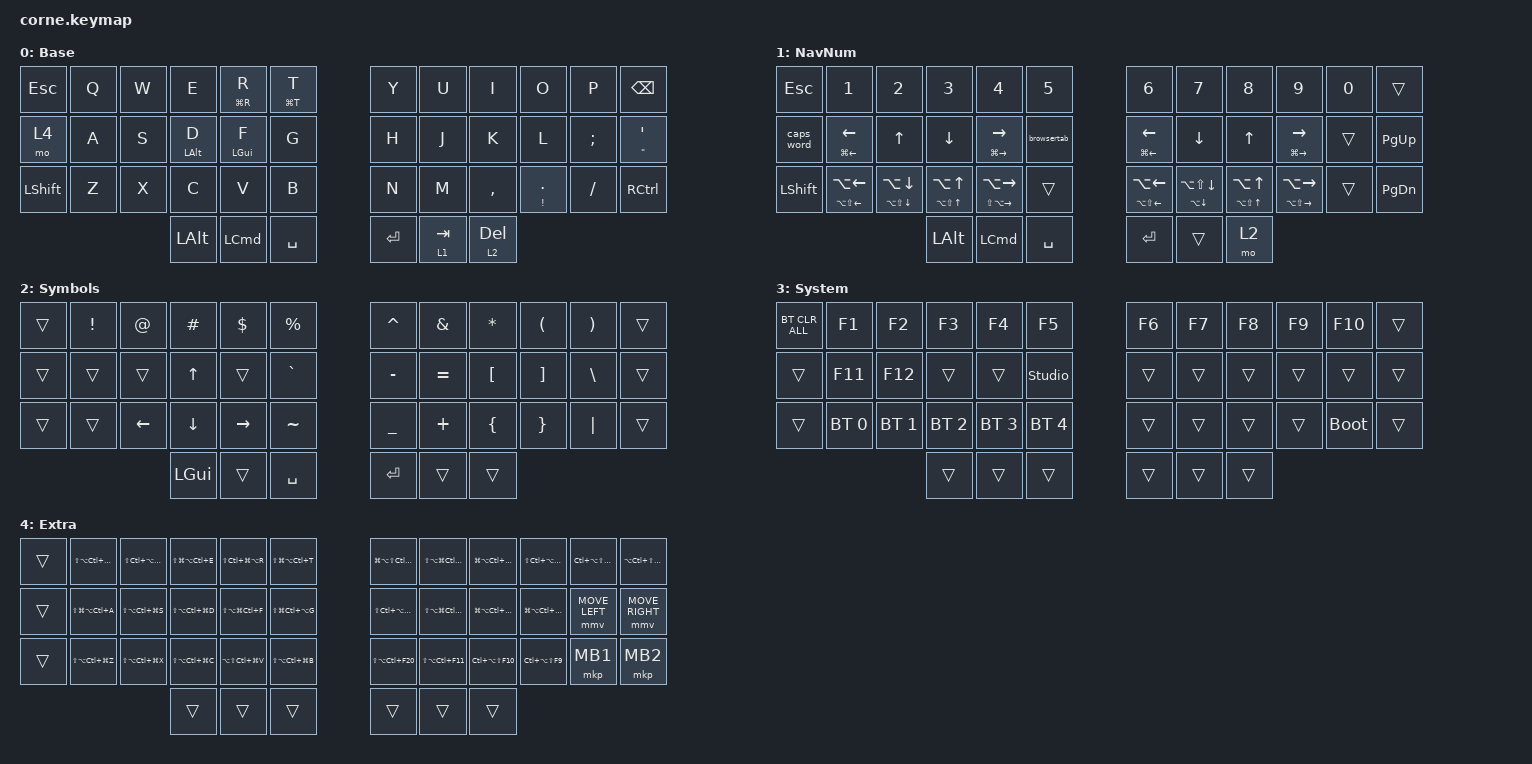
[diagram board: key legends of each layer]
#include <behaviors.dtsi>
#include <dt-bindings/zmk/bt.h>
#include <dt-bindings/zmk/keys.h>
#include <dt-bindings/zmk/outputs.h>
#include <dt-bindings/zmk/pointing.h>

#define DEF 0
#define NAV 1
#define SYM 2
#define ADJ 3
#define EXTRA 4

/ {
    behaviors {
        hm: homerow_mods {
            compatible = "zmk,behavior-hold-tap";
            #binding-cells = <2>;
            tapping-term-ms = <200>;
            flavor = "tap-preferred";
            bindings = <&kp>, <&kp>;

            quick-tap-ms = <180>;
            require-prior-idle-ms = <120>;
        };

        para: para {
            compatible = "zmk,behavior-tap-dance";
            #binding-cells = <0>;
            bindings = <&kp LEFT_PARENTHESIS>, <&kp RIGHT_PARENTHESIS>;
        };

        caps: caps {
            compatible = "zmk,behavior-caps-word";
            #binding-cells = <0>;
            continue-list = <MINUS BACKSPACE>;
        };

        paraless: paraless {
            compatible = "zmk,behavior-mod-morph";
            bindings = <&kp LEFT_PARENTHESIS>, <&kp LESS_THAN>;

            #binding-cells = <0>;
            mods = <(MOD_LSFT)>;
        };

        paragreat: paragreat {
            compatible = "zmk,behavior-mod-morph";
            bindings = <&kp RIGHT_PARENTHESIS>, <&kp GREATER_THAN>;

            #binding-cells = <0>;
            mods = <(MOD_LSFT)>;
        };

        HMShiftR: HMShiftR {
            compatible = "zmk,behavior-hold-tap";
            bindings = <&kp>, <&kp>;

            #binding-cells = <2>;
            tapping-term-ms = <200>;
            hold-while-undecided;
            hold-trigger-key-positions = <0 1 2 4 5 12 13 14 15 16 17 24 25 26 27 28 29 36 37 38 3>;
            hold-trigger-on-release;
        };

        HMShiftL: HMShiftL {
            compatible = "zmk,behavior-hold-tap";
            bindings = <&kp>, <&kp>;

            #binding-cells = <2>;
            tapping-term-ms = <200>;
            hold-while-undecided;
            hold-while-undecided-linger;
            hold-trigger-on-release;
            hold-trigger-key-positions = <6 7 8 9 10 11 18 19 20 21 22 23 30 31 32 33 34 35 39 40 41>;
        };

        HMR: HMR {
            compatible = "zmk,behavior-hold-tap";
            bindings = <&kp>, <&kp>;

            #binding-cells = <2>;
            tapping-term-ms = <200>;
            hold-while-undecided;
            hold-trigger-key-positions = <0 1 2 4 5 12 13 14 15 16 17 24 25 26 27 28 29 36 37 38 3>;
            hold-trigger-on-release;
            flavor = "tap-preferred";
        };

        HML: HML {
            compatible = "zmk,behavior-hold-tap";
            bindings = <&kp>, <&kp>;

            #binding-cells = <2>;
            tapping-term-ms = <200>;
            hold-while-undecided;
            hold-trigger-on-release;
            hold-trigger-key-positions = <6 7 8 9 10 11 18 19 20 21 22 23 30 31 32 33 34 35 39 40 41>;
            flavor = "tap-preferred";
        };

        longpress: longpress {
            compatible = "zmk,behavior-hold-tap";
            bindings = <&kp>, <&kp>;

            #binding-cells = <2>;
            flavor = "tap-preferred";
            tapping-term-ms = <350>;
        };
    };

    macros {
        browsertab: browsertab {
            compatible = "zmk,behavior-macro";
            #binding-cells = <0>;
            bindings =
                <&macro_press>,
                <&kp LCTRL>,
                <&macro_tap>,
                <&kp TAB>,
                <&macro_release>,
                <&kp LCTRL>;
        };
    };

    combos {
        compatible = "zmk,combos";

        delete {
            bindings = <&kp DELETE>;
            key-positions = <15 21>;
        };

        perc {
            bindings = <&kp PERCENT>;
            key-positions = <5 17>;
        };

        equal {
            bindings = <&kp EQUAL>;
            key-positions = <28 16>;
        };

        dollar {
            bindings = <&kp DOLLAR>;
            key-positions = <4 16>;
        };

        pound {
            bindings = <&kp POUND>;
            key-positions = <3 15>;
        };

        at {
            bindings = <&kp AT>;
            key-positions = <2 14>;
        };

        backslash {
            bindings = <&kp BACKSLASH>;
            key-positions = <26 14>;
        };

        copy {
            bindings = <&kp K_COPY>;
            key-positions = <28 27>;
        };

        paste {
            bindings = <&kp K_PASTE>;
            key-positions = <26 27>;
        };

        star {
            bindings = <&kp STAR>;
            key-positions = <8 20>;
        };

        slash {
            bindings = <&kp SLASH>;
            key-positions = <32 20>;
        };

        plus {
            bindings = <&kp PLUS>;
            key-positions = <31 19>;
        };

        minus {
            bindings = <&kp MINUS>;
            key-positions = <30 18>;
        };

        leftbrack {
            bindings = <&kp LEFT_BRACKET>;
            key-positions = <31 32>;
        };

        rightbrack {
            bindings = <&kp RIGHT_BRACKET>;
            key-positions = <33 32>;
        };

        para-less {
            bindings = <&paraless>;
            key-positions = <20 19>;
        };

        para-great {
            bindings = <&paragreat>;
            key-positions = <20 21>;
        };

        tick {
            bindings = <&kp GRAVE>;
            key-positions = <11 23>;
        };

        exclamation {
            bindings = <&kp EXCLAMATION>;
            key-positions = <1 13>;
        };

        ampersand {
            bindings = <&kp AMPERSAND>;
            key-positions = <7 19>;
        };

        caret {
            bindings = <&kp CARET>;
            key-positions = <6 18>;
        };

        euqal {
            bindings = <&kp KP_EQUAL>;
            key-positions = <19 18>;
        };

        underscore {
            bindings = <&kp UNDERSCORE>;
            key-positions = <30 31>;
        };

        pipe {
            bindings = <&kp PIPE>;
            key-positions = <21 33>;
        };

        tilde {
            bindings = <&kp TILDE>;
            key-positions = <22 34>;
        };

        escape {
            bindings = <&kp ESCAPE>;
            key-positions = <0 1>;
        };
    };

    //

    keymap {
        compatible = "zmk,keymap";

        DEF {
            display-name = "Base";

            // -----------------------------------------------------------------------------------------
            // |  Q  |  W  |  E  |  R  |  T  |   |  Y  |  U   |  I  |  O  |  P  |
            // |  A  |  S  |  D  |  F  |  G  |   |  H  |  J   |  K  |  L  |  ;  |
            // |  Z  |  X  |  C  |  V  |  B  |   |  N  |  M   |  ,  |  .  |  /  |
            // | GUI | CTRL | SHFT | LWR | SPC |   | ENT | RSE  | BKSP | ALT | ESC |

            bindings = <
&kp ESC         &kp Q  &kp W  &kp E            &longpress LG(R) R  &longpress LG(T) T    &kp Y    &kp U      &kp I         &kp O                          &kp P     &kp BACKSPACE
&mo 4           &kp A  &kp S  &HML LEFT_ALT D  &HML LEFT_GUI F     &kp G                 &kp H    &kp J      &kp K         &kp L                          &kp SEMI  &mt DOUBLE_QUOTES SQT
&kp LEFT_SHIFT  &kp Z  &kp X  &kp C            &kp V               &kp B                 &kp N    &kp M      &kp COMMA     &longpress EXCLAMATION PERIOD  &kp FSLH  &kp RCTRL
                              &kp LEFT_ALT     &kp LEFT_COMMAND    &kp SPACE             &kp RET  &lt 1 TAB  &lt 2 DELETE
            >;
        };

        NAV {
            display-name = "NavNum";

            // -----------------------------------------------------------------------------------------
            // |  TAB |  1  |  2  |  3  |  4  |  5  |   |  6  |  7  |  8  |  9  |  0  | BKSP |
            // | BTCLR| BT1 | BT2 | BT3 | BT4 | BT5 |   | LFT | DWN |  UP | RGT |     |      |
            // | SHFT |     |     |     |     |     |   |     |     |     |     |     |      |
            // | GUI | CTRL | SHFT | LWR | SPC |   | ENT | RSE  | BKSP | ALT | ESC |

            bindings = <
&kp ESCAPE  &kp N1                                        &kp N2                                        &kp N3                                    &kp N4                                          &kp N5         &kp N6                                        &kp N7                                        &kp N8                                    &kp N9                                          &kp N0  &trans
&caps_word  &longpress LG(LEFT_ARROW) LEFT_ARROW          &kp UP_ARROW                                  &kp DOWN_ARROW                            &longpress LG(RIGHT_ARROW) RIGHT_ARROW          &browsertab    &longpress LG(LEFT_ARROW) LEFT_ARROW          &kp DOWN_ARROW                                &kp UP_ARROW                              &longpress LG(RIGHT_ARROW) RIGHT_ARROW          &trans  &kp PG_UP
&kp LSHFT   &longpress LA(LS(LEFT_ARROW)) LA(LEFT_ARROW)  &longpress LA(LS(DOWN_ARROW)) LA(DOWN_ARROW)  &longpress LA(LS(UP_ARROW)) LA(UP_ARROW)  &longpress LS(LA(RIGHT_ARROW)) LA(RIGHT_ARROW)  &trans         &longpress LA(LS(LEFT_ARROW)) LA(LEFT_ARROW)  &longpress LA(DOWN_ARROW) LA(LS(DOWN_ARROW))  &longpress LA(LS(UP_ARROW)) LA(UP_ARROW)  &longpress LA(LS(RIGHT_ARROW)) LA(RIGHT_ARROW)  &trans  &kp PAGE_DOWN
                                                                                                        &kp LEFT_ALT                              &kp LEFT_COMMAND                                &kp SPACE      &kp RET                                       &trans                                        &mo 2
            >;
        };

        SYM {
            display-name = "Symbols";

            // -----------------------------------------------------------------------------------------
            // |  TAB |  !  |  @  |  #  |  $  |  %  |   |  ^  |  &  |  *  |  (  |  )  | BKSP |
            // | CTRL |     |     |     |     |     |   |  -  |  =  |  [  |  ]  |  \  |  `   |
            // | SHFT |     |     |     |     |     |   |  _  |  +  |  {  |  }  | "|" |  ~   |
            //                    | GUI |     | SPC |   | ENT |     | ALT |

            bindings = <
&trans  &kp EXCL  &kp AT          &kp HASH        &kp DLLR         &kp PRCNT    &kp CARET  &kp AMPS   &kp ASTRK  &kp LEFT_PARENTHESIS  &kp RPAR  &trans
&trans  &trans    &trans          &kp UP_ARROW    &trans           &kp GRAVE    &kp MINUS  &kp EQUAL  &kp LBKT   &kp RBKT              &kp BSLH  &trans
&trans  &trans    &kp LEFT_ARROW  &kp DOWN_ARROW  &kp RIGHT_ARROW  &kp TILDE    &kp UNDER  &kp PLUS   &kp LBRC   &kp RBRC              &kp PIPE  &trans
                                  &kp LGUI        &trans           &kp SPACE    &kp RET    &trans     &trans
            >;
        };

        ADJ {
            display-name = "System";
            bindings = <
&bt BT_CLR_ALL  &kp F1        &kp F2        &kp F3        &kp F4        &kp F5            &kp F6  &kp F7  &kp F8  &kp F9  &kp F10      &trans
&trans          &kp F11       &kp F12       &trans        &trans        &studio_unlock    &trans  &trans  &trans  &trans  &trans       &trans
&trans          &bt BT_SEL 0  &bt BT_SEL 1  &bt BT_SEL 2  &bt BT_SEL 3  &bt BT_SEL 4      &trans  &trans  &trans  &trans  &bootloader  &trans
                                            &trans        &trans        &trans            &trans  &trans  &trans
            >;
        };

        EXTRA {
            display-name = "Extra";
            bindings = <
&trans  &kp LS(LA(LC(LG(Q))))  &kp LS(LC(LA(LG(W))))  &kp LS(LG(LA(LC(E))))  &kp LS(LC(LG(LA(R))))  &kp LS(LG(LA(LC(T))))    &kp LG(LA(LS(LC(F12))))  &kp LS(LA(LG(LC(F13))))  &kp LG(LA(LC(LS(F14))))  &kp LS(LC(LA(LG(F15))))  &kp LC(LA(LS(LG(F6))))  &kp LA(LC(LS(LG(F7))))
&trans  &kp LS(LG(LA(LC(A))))  &kp LS(LA(LC(LG(S))))  &kp LS(LA(LC(LG(D))))  &kp LS(LA(LG(LC(F))))  &kp LS(LG(LC(LA(G))))    &kp LS(LC(LA(LG(F16))))  &kp LS(LA(LG(LC(F17))))  &kp LG(LA(LC(LS(F18))))  &kp LG(LA(LC(LS(F19))))  &mmv MOVE_LEFT          &mmv MOVE_RIGHT
&trans  &kp LS(LA(LC(LG(Z))))  &kp LS(LA(LC(LG(X))))  &kp LS(LA(LC(LG(C))))  &kp LA(LS(LC(LG(V))))  &kp LS(LA(LC(LG(B))))    &kp LS(LA(LC(F20)))      &kp LS(LA(LC(F11)))      &kp LC(LA(LS(F10)))      &kp LC(LA(LS(F9)))       &mkp MB1                &mkp MB2
                                                      &trans                 &trans                 &trans                   &trans                   &trans                   &trans
            >;
        };
    };

    conditional_layers {
        compatible = "zmk,conditional-layers";

        l3 {
            if-layers = <1 2>;
            then-layer = <3>;
        };
    };
};
